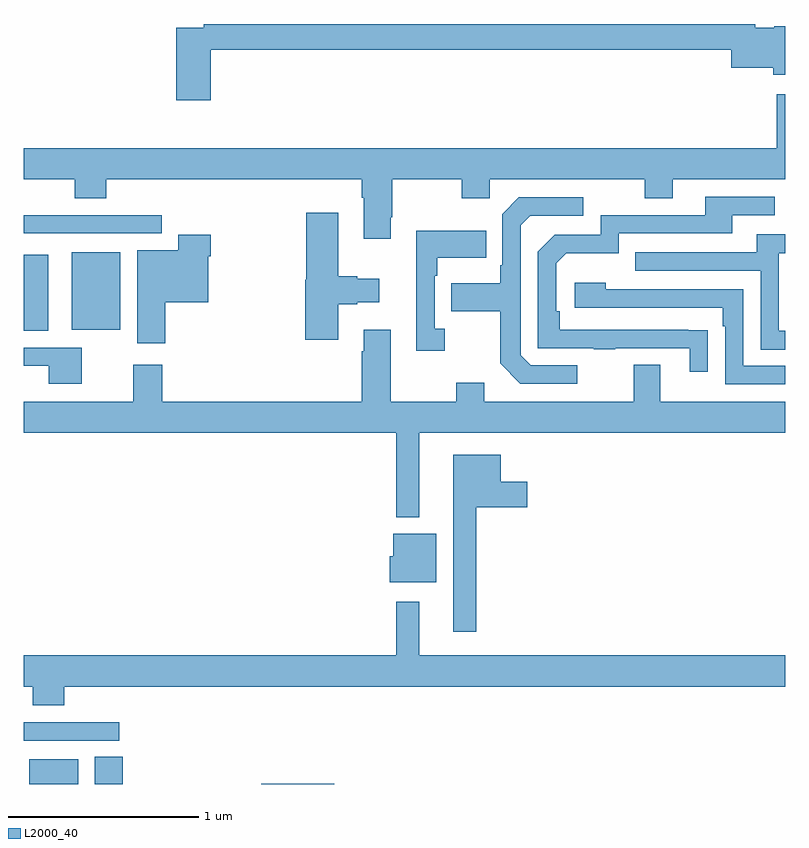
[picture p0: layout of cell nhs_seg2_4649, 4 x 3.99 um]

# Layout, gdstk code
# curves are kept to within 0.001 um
import gdstk
lib = gdstk.Library(unit=1e-6, precision=1e-09)
def R(c, l, rs):  # rectangles x0, y0, x1, y1
    for r in rs: c.add(gdstk.rectangle(r[:2], r[2:], *l))
def P(c, l, *ps):  # polygons
    for p in ps: c.add(gdstk.Polygon(p, *l))
L2000_40 = (2000, 40)

nhs_seg2_4649 = lib.new_cell('nhs_seg2_4649')
R(nhs_seg2_4649, L2000_40, [(363.029,637.8,363.286,637.93), (363.374,637.8,363.521,637.943), (364.248,637.8,364.632,637.802), (363,638.028,363.502,638.124), (363,640.181,363.13,640.579), (363.251,640.187,363.508,640.594), (363,640.692,363.724,640.788)])
P(nhs_seg2_4649, L2000_40, [(363.983,641.656),(366.716,641.656),(366.716,641.561),(366.938,641.561),(366.938,641.525),(367,641.525),(367,641.779),(366.942,641.779),(366.942,641.773),(366.842,641.773),(366.842,641.792),(363.946,641.792),(363.946,641.772),(363.8,641.772),(363.8,641.391),(363.983,641.391)],
  [(364.927,640.777),(364.935,640.777),(364.935,640.976),(365.302,640.976),(365.302,640.877),(365.448,640.877),(365.448,640.976),(366.262,640.976),(366.262,640.877),(366.409,640.877),(366.409,640.976),(367,640.976),(367,641.422),(366.954,641.422),(366.954,641.14),(363,641.14),(363,640.976),(363.269,640.976),(363.269,640.877),(363.434,640.877),(363.434,640.976),(364.775,640.976),(364.775,640.88),(364.787,640.88),(364.787,640.665),(364.927,640.665)],
  [(366.593,640.184),(365.816,640.185),(365.816,640.282),(365.796,640.282),(365.796,640.536),(365.849,640.589),(366.126,640.589),(366.126,640.692),(366.721,640.692),(366.721,640.788),(366.946,640.788),(366.946,640.884),(366.581,640.884),(366.581,640.788),(366.03,640.788),(366.03,640.686),(365.79,640.686),(365.7,640.596),(365.7,640.089),(365.995,640.089),(365.995,640.084),(366.107,640.084),(366.107,640.089),(366.497,640.089),(366.497,639.966),(366.593,639.966)],
  [(365.908,639.999),(365.664,639.999),(365.61,640.053),(365.61,640.734),(365.661,640.785),(365.938,640.785),(365.938,640.881),(365.601,640.881),(365.514,640.794),(365.514,640.525),(365.502,640.525),(365.502,640.429),(365.245,640.429),(365.245,640.282),(365.502,640.282),(365.502,640.009),(365.607,639.903),(365.908,639.903)],
  [(364.651,640.319),(364.751,640.319),(364.751,640.331),(364.867,640.331),(364.867,640.453),(364.751,640.453),(364.751,640.466),(364.651,640.466),(364.651,640.801),(364.484,640.801),(364.484,640.449),(364.478,640.449),(364.478,640.134),(364.651,640.134)],
  [(365.212,640.19),(365.16,640.19),(365.16,640.469),(365.173,640.469),(365.173,640.565),(365.429,640.565),(365.429,640.705),(365.063,640.705),(365.063,640.077),(365.212,640.077)],
  [(367,640.182),(366.966,640.182),(366.966,640.587),(367,640.587),(367,640.687),(366.851,640.687),(366.851,640.593),(366.211,640.593),(366.211,640.497),(366.87,640.497),(366.87,640.081),(367,640.081)],
  [(363.743,640.331),(363.97,640.331),(363.97,640.571),(363.983,640.571),(363.983,640.684),(363.812,640.684),(363.812,640.603),(363.596,640.603),(363.596,640.116),(363.743,640.116)],
  [(367,639.996),(366.78,639.996),(366.78,640.398),(366.056,640.398),(366.056,640.432),(365.895,640.432),(365.895,640.302),(366.671,640.302),(366.671,640.205),(366.684,640.205),(366.684,639.9),(367,639.9)],
  [(365.077,639.644),(367,639.644),(367,639.808),(366.343,639.808),(366.343,640.003),(366.203,640.003),(366.203,639.808),(365.419,639.808),(365.419,639.907),(365.272,639.907),(365.272,639.808),(364.927,639.808),(364.927,640.186),(364.787,640.186),(364.787,640.073),(364.775,640.073),(364.775,639.808),(363.728,639.808),(363.728,640.003),(363.575,640.003),(363.575,639.808),(363,639.808),(363,639.644),(364.956,639.644),(364.956,639.2),(365.077,639.2)],
  [(363.304,640.092),(363,640.092),(363,639.996),(363.131,639.996),(363.131,639.902),(363.304,639.902)],
  [(365.377,639.254),(365.644,639.254),(365.644,639.388),(365.506,639.388),(365.506,639.529),(365.255,639.529),(365.255,638.601),(365.377,638.601)],
  [(365.167,639.115),(364.94,639.115),(364.94,638.997),(364.922,638.997),(364.922,638.861),(365.167,638.861)],
  [(363.212,638.312),(367,638.312),(367,638.476),(365.077,638.476),(365.077,638.758),(364.956,638.758),(364.956,638.476),(363,638.476),(363,638.312),(363.047,638.312),(363.047,638.213),(363.212,638.213)])

lib.write_gds('nhs_seg2_4649.gds')
